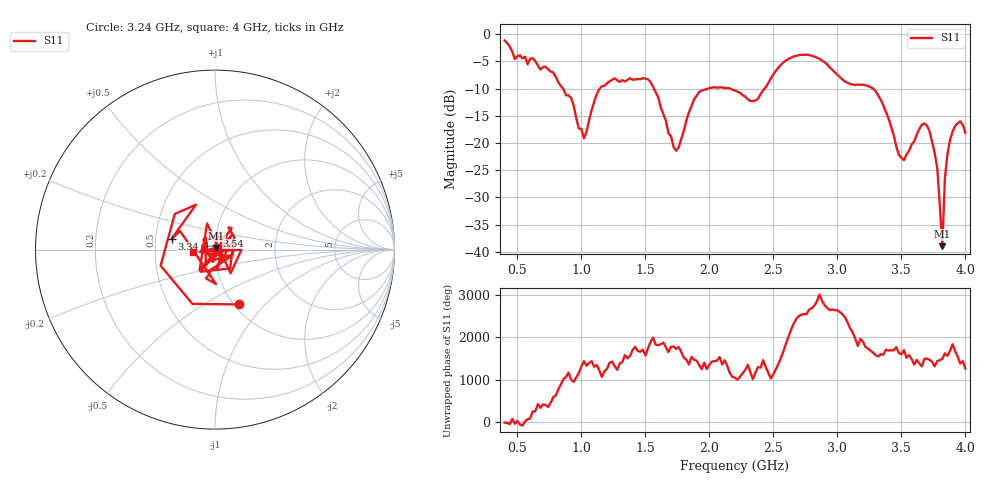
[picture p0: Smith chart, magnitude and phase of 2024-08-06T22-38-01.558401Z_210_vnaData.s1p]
!Created with skrf (http://scikit-rf.org).
# Hz S RI R 50.0
!freq ReS11 ImS11
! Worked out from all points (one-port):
!   181 points, 400 MHz to 4 GHz, reference 50 ohm
!   lowest |S11| = -39.0 dB at 3.82 GHz (marker M1), VSWR 1.02, Z = 50.7 + j0.918 ohm
!   |S11| at or under -10 dB: 857.4 MHz to 1.143 GHz (285.7 MHz wide, 28.6 % of centre); 1.567 GHz to 1.99 GHz (423.1 MHz wide, 23.8 % of centre); 3.279 GHz to end of sweep (the widest 3 of 4)
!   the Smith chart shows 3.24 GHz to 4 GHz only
!   S11 on the Smith chart (normalised r, x): 3.24 GHz: 1.05, -0.72; 3.34 GHz: 0.61, +0.08; 3.54 GHz: 1.01, +0.16; 4 GHz: 0.78, -0.02
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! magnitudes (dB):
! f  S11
! 400 MHz  -1.1
! 480 MHz  -4.6
! 620 MHz  -4.4
! 860 MHz  -10.1
! 1.02 GHz  -19.1
! 1.14 GHz  -10.1
! 1.3 GHz  -8.8
! 1.54 GHz  -8.8
! 1.72 GHz  -20.7
! 1.76 GHz  -20.8
! 1.92 GHz  -10.6
! 2.2 GHz  -10.3
! 2.36 GHz  -12.2
! 2.66 GHz  -4.1
! 3.1 GHz  -9.1
! 3.24 GHz  -9.5
! 3.34 GHz  -12.1
! 3.48 GHz  -22.2
! 3.54 GHz  -22.1
! 3.56 GHz  -21.4
! 3.66 GHz  -16.6
! 3.72 GHz  -17.8
! 3.78 GHz  -24.6
! 3.82 GHz  -39.0
! 3.84 GHz  -26.4
! 3.88 GHz  -19.4
! 3.96 GHz  -16.0
! 4 GHz  -18.1
